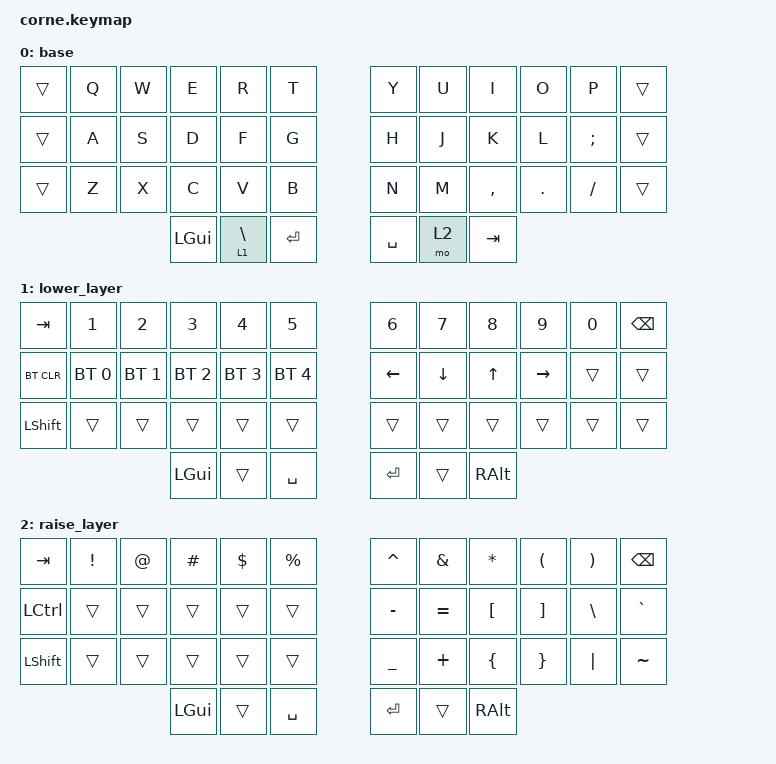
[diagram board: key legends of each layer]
/*
 * Copyright (c) 2020 The ZMK Contributors
 *
 * SPDX-License-Identifier: MIT
 */

#include <dt-bindings/zmk/mouse.h>
#include <input/processors.dtsi>
#include <behaviors.dtsi>
#include <dt-bindings/zmk/bt.h>
#include <dt-bindings/zmk/keys.h>

#define ZMK_MOUSE_DEFAULT_MOVE_VAL 1200  // 600
#define ZMK_MOUSE_DEFAULT_SCRL_VAL 20    // 10

&mt { flavor = "balanced"; };

/ {
    macros {
        detach_instance: detach_instance {
            compatible = "zmk,behavior-macro";
            #binding-cells = <0>;
            bindings =
                <&macro_press>,
                <&kp LEFT_ALT &kp LCTRL>,
                <&macro_tap>,
                <&kp B>,
                <&macro_release>,
                <&kp LEFT_ALT &kp LCTRL>;

            label = "DETACH_INSTANCE";
        };

        toggle_UI: toggle_UI {
            compatible = "zmk,behavior-macro";
            #binding-cells = <0>;
            bindings =
                <&macro_press>,
                <&kp LCTRL>,
                <&macro_tap>,
                <&kp BACKSLASH>,
                <&macro_release>,
                <&kp LCTRL>;

            label = "TOGGLE_UI";
        };

        paste_to_replace: paste_to_replace {
            compatible = "zmk,behavior-macro";
            #binding-cells = <0>;
            bindings =
                <&macro_press>,
                <&kp LEFT_SHIFT &kp LCTRL>,
                <&macro_tap>,
                <&kp R>,
                <&macro_release>,
                <&kp LEFT_SHIFT &kp LCTRL>;

            label = "PASTE_TO_REPLACE";
        };

        ungroup: ungroup {
            compatible = "zmk,behavior-macro";
            #binding-cells = <0>;
            bindings =
                <&macro_press>,
                <&kp LCTRL>,
                <&macro_tap>,
                <&kp BACKSPACE>,
                <&macro_release>,
                <&kp LCTRL>;

            label = "UNGROUP";
        };

        screenshot: screenshot {
            compatible = "zmk,behavior-macro";
            #binding-cells = <0>;
            bindings =
                <&macro_press>,
                <&kp LEFT_WIN &kp LEFT_SHIFT>,
                <&macro_tap>,
                <&kp S>,
                <&macro_release>,
                <&kp LEFT_WIN &kp LEFT_SHIFT>;

            label = "SCREENSHOT";
        };

        figma_AI: figma_AI {
            compatible = "zmk,behavior-macro";
            #binding-cells = <0>;
            bindings =
                <&macro_press>,
                <&kp LCTRL>,
                <&macro_tap>,
                <&kp K>,
                <&macro_release>,
                <&kp LCTRL>;

            label = "FIGMA_AI";
        };

        copy_properties: copy_properties {
            compatible = "zmk,behavior-macro";
            #binding-cells = <0>;
            bindings =
                <&macro_press>,
                <&kp LEFT_ALT &kp LCTRL>,
                <&macro_tap>,
                <&kp C>,
                <&macro_release>,
                <&kp LEFT_ALT &kp LCTRL>;

            label = "COPY_PROPERTIES";
        };

        comment: comment {
            compatible = "zmk,behavior-macro";
            #binding-cells = <0>;
            bindings =
                <&macro_press>,
                <&kp LCTRL>,
                <&macro_tap>,
                <&kp K &kp C>,
                <&macro_release>,
                <&kp LCTRL>;

            label = "COMMENT";
        };

        uncomment: uncomment {
            compatible = "zmk,behavior-macro";
            #binding-cells = <0>;
            bindings =
                <&macro_press>,
                <&kp LCTRL>,
                <&macro_tap>,
                <&kp K &kp U>,
                <&macro_release>,
                <&kp LCTRL>;

            label = "UNCOMMENT";
        };

        row_height: row_height {
            compatible = "zmk,behavior-macro";
            #binding-cells = <0>;
            bindings =
                <&macro_press>,
                <&kp LEFT_ALT>,
                <&macro_tap>,
                <&kp H &kp O &kp H>,
                <&macro_release>,
                <&kp LEFT_ALT>;

            label = "ROW_HEIGHT";
        };

        column_width: column_width {
            compatible = "zmk,behavior-macro";
            #binding-cells = <0>;
            bindings =
                <&macro_press>,
                <&kp LEFT_ALT>,
                <&macro_tap>,
                <&kp H &kp O &kp W>,
                <&macro_release>,
                <&kp LEFT_ALT>;

            label = "COLUMN_WIDTH";
        };

        switch: switch {
            compatible = "zmk,behavior-macro";
            #binding-cells = <0>;
            bindings =
                <&macro_tap>,
                <&kp S &kp W &kp I &kp T &kp C &kp H &kp ENTER>;

            label = "SWITCH";
        };
    };

    keymap {
        compatible = "zmk,keymap";

        default_layer {
            display-name = "base";

            // -----------------------------------------------------------------------------------------
            // |  TAB |  Q  |  W  |  E  |  R  |  T  |   |  Y  |  U   |  I  |  O  |  P  | BSPC |
            // | CTRL |  A  |  S  |  D  |  F  |  G  |   |  H  |  J   |  K  |  L  |  ;  |  '   |
            // | SHFT |  Z  |  X  |  C  |  V  |  B  |   |  N  |  M   |  ,  |  .  |  /  | ESC  |
            //                    | GUI | LWR | SPC |   | ENT | RSE  | ALT |

            bindings = <
&trans  &kp Q  &kp W  &kp E     &kp R            &kp T        &kp Y      &kp U  &kp I      &kp O    &kp P     &trans
&trans  &kp A  &kp S  &kp D     &kp F            &kp G        &kp H      &kp J  &kp K      &kp L    &kp SEMI  &trans
&trans  &kp Z  &kp X  &kp C     &kp V            &kp B        &kp N      &kp M  &kp COMMA  &kp DOT  &kp FSLH  &trans
                      &kp LGUI  &lt 1 BACKSLASH  &kp ENTER    &kp SPACE  &mo 2  &kp TAB
            >;
        };

        lower_layer {
            // -----------------------------------------------------------------------------------------
            // |  TAB |  1  |  2  |  3  |  4  |  5  |   |  6  |  7  |  8  |  9  |  0  | BSPC |
            // | BTCLR| BT1 | BT2 | BT3 | BT4 | BT5 |   | LFT | DWN |  UP | RGT |     |      |
            // | SHFT |     |     |     |     |     |   |     |     |     |     |     |      |
            //                    | GUI |     | SPC |   | ENT |     | ALT |

            bindings = <
&kp TAB     &kp N1        &kp N2        &kp N3        &kp N4        &kp N5          &kp N6    &kp N7    &kp N8    &kp N9     &kp N0  &kp BSPC
&bt BT_CLR  &bt BT_SEL 0  &bt BT_SEL 1  &bt BT_SEL 2  &bt BT_SEL 3  &bt BT_SEL 4    &kp LEFT  &kp DOWN  &kp UP    &kp RIGHT  &trans  &trans
&kp LSHFT   &trans        &trans        &trans        &trans        &trans          &trans    &trans    &trans    &trans     &trans  &trans
                                        &kp LGUI      &trans        &kp SPACE       &kp RET   &trans    &kp RALT
            >;
        };

        raise_layer {
            // -----------------------------------------------------------------------------------------
            // |  TAB |  !  |  @  |  #  |  $  |  %  |   |  ^  |  &  |  *  |  (  |  )  | BSPC |
            // | CTRL |     |     |     |     |     |   |  -  |  =  |  [  |  ]  |  \  |  `   |
            // | SHFT |     |     |     |     |     |   |  _  |  +  |  {  |  }  | "|" |  ~   |
            //                    | GUI |     | SPC |   | ENT |     | ALT |

            bindings = <
&kp TAB    &kp EXCL  &kp AT  &kp HASH  &kp DLLR  &kp PRCNT    &kp CARET  &kp AMPS   &kp ASTRK  &kp LPAR  &kp RPAR  &kp BSPC
&kp LCTRL  &trans    &trans  &trans    &trans    &trans       &kp MINUS  &kp EQUAL  &kp LBKT   &kp RBKT  &kp BSLH  &kp GRAVE
&kp LSHFT  &trans    &trans  &trans    &trans    &trans       &kp UNDER  &kp PLUS   &kp LBRC   &kp RBRC  &kp PIPE  &kp TILDE
                             &kp LGUI  &trans    &kp SPACE    &kp RET    &trans     &kp RALT
            >;
        };
    };
};
